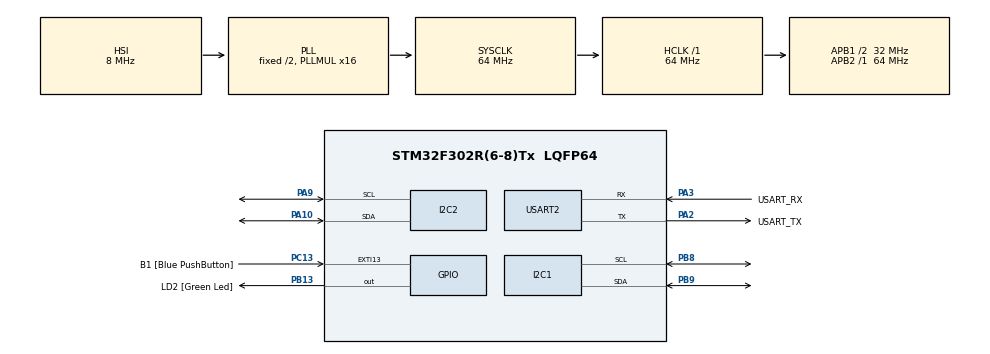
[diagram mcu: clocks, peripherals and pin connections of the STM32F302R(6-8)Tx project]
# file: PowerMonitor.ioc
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I2C1.Timing=0x00201D2B
I2C2.Timing=0x00201D2B
Mcu.Family=STM32F3
Mcu.Name=STM32F302R(6-8)Tx
Mcu.Package=LQFP64
NVIC.PriorityGroup=NVIC_PRIORITYGROUP_0
PA10.Mode=I2C
PA10.Signal=I2C2_SDA
PA13.GPIO_Label=TMS
PA13.Mode=Serial_Wire
PA13.Signal=SYS_JTMS-SWDIO
PA14.GPIO_Label=TCK
PA14.Mode=Serial_Wire
PA14.Signal=SYS_JTCK-SWCLK
PA2.GPIO_Label=USART_TX
PA2.GPIO_Mode=GPIO_MODE_AF_PP
PA2.GPIO_PuPd=GPIO_NOPULL
PA2.GPIO_Speed=GPIO_SPEED_FREQ_LOW
PA2.Mode=Asynchronous
PA2.Signal=USART2_TX
PA3.GPIO_Label=USART_RX
PA3.GPIO_Mode=GPIO_MODE_AF_PP
PA3.GPIO_PuPd=GPIO_NOPULL
PA3.GPIO_Speed=GPIO_SPEED_FREQ_LOW
PA3.Mode=Asynchronous
PA3.Signal=USART2_RX
PA9.Mode=I2C
PA9.Signal=I2C2_SCL
PB13.GPIO_Label=LD2 [Green Led]
PB13.Signal=GPIO_Output
PB3.GPIO_Label=SWO
PB3.Mode=Trace_Asynchronous_SW
PB3.Signal=SYS_JTDO-TRACESWO
PB8.Mode=I2C
PB8.Signal=I2C1_SCL
PB9.Mode=I2C
PB9.Signal=I2C1_SDA
PC13.GPIO_Label=B1 [Blue PushButton]
PC13.GPIO_ModeDefaultEXTI=GPIO_MODE_IT_FALLING
PC13.Signal=GPXTI13
PC14\ -\ OSC32_IN.Mode=LSE-External-Oscillator
PC14\ -\ OSC32_IN.Signal=RCC_OSC32_IN
PC15\ -\ OSC32_OUT.Mode=LSE-External-Oscillator
PC15\ -\ OSC32_OUT.Signal=RCC_OSC32_OUT
PF0-OSC_IN.Mode=HSE-External-Clock-Source
PF0-OSC_IN.Signal=RCC_OSC_IN
PF1-OSC_OUT.Signal=RCC_OSC_OUT
ProjectManager.HeapSize=0x200
ProjectManager.StackSize=0x400
ProjectManager.TargetToolchain=STM32CubeIDE
RCC.AHBFreq_Value=64000000
RCC.APB1CLKDivider=RCC_HCLK_DIV2
RCC.APB1Freq_Value=32000000
RCC.APB1TimFreq_Value=64000000
RCC.APB2Freq_Value=64000000
RCC.APB2TimFreq_Value=64000000
RCC.CortexFreq_Value=64000000
RCC.HCLKFreq_Value=64000000
RCC.HSE_VALUE=8000000
RCC.HSI_VALUE=8000000
RCC.PLLM=8
RCC.PLLMUL=RCC_PLL_MUL16
RCC.PLLN=336
RCC.PLLP=RCC_PLLP_DIV4
RCC.PLLQ=7
RCC.RCC_PLLsource_Clock_Source_FROM_HSE=RCC_HSE_PREDIV_DIV2
RCC.SYSCLKFreq_VALUE=64000000
RCC.SYSCLKSourceVirtual=RCC_SYSCLKSOURCE_PLLCLK
RCC.USBFreq_Value=64000000
USART2.VirtualMode-Asynchronous=VM_ASYNC
board=NUCLEO-F302R8

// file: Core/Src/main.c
/* USER CODE BEGIN Header */
/**
  ******************************************************************************
  * @file           : main.c
  * @brief          : Main program body
  ******************************************************************************
  * @attention
  *
  * Copyright (c) 2026 STMicroelectronics.
  * All rights reserved.
  *
  * This software is licensed under terms that can be found in the LICENSE file
  * in the root directory of this software component.
  * If no LICENSE file comes with this software, it is provided AS-IS.
  *
  ******************************************************************************
  */
/* USER CODE END Header */
#include "main.h"
#include "OutputFunctions.h"
#define CLEAR 0x01
#define CURRENT_REG 0x01
#define VOLTAGE_REG 0x02
#define PWR_REG 0x03
uint8_t DEVICE_ADDR = 0x3F;

I2C_HandleTypeDef hi2c1;
I2C_HandleTypeDef hi2c2;

UART_HandleTypeDef huart2;

void SystemClock_Config(void);
static void MX_GPIO_Init(void);
static void MX_I2C1_Init(void);
static void MX_I2C2_Init(void);
static void MX_USART2_UART_Init(void);

int main(void)
{

  /* USER CODE BEGIN 1 */
int rawVoltage, rawCurrent, rawPower;
  /* USER CODE END 1 */

  /* MCU Configuration--------------------------------------------------------*/

  /* Reset of all peripherals, Initializes the Flash interface and the Systick. */
  HAL_Init();

  /* Configure the system clock */
  SystemClock_Config();

  /* Initialize all configured peripherals */
  MX_GPIO_Init();
  MX_I2C1_Init();
  MX_I2C2_Init();
  MX_USART2_UART_Init();

  for(uint8_t addr = 1; addr < 127; addr++) {
      if(HAL_I2C_IsDeviceReady(&hi2c1, addr<<1, 1, 10) == HAL_OK) {
          printf("Device found at 0x%X\n", addr);
          DEVICE_ADDR = addr;
      }
  }
  /* USER CODE BEGIN 2 */
initializeLCD();

uint32_t status = HAL_I2C_IsDeviceReady(&hi2c2, (0x40<<1), 5, 100);

if(status != HAL_OK){
	outputWords("INA ERROR");
}else{
	for(int i = 0; i < 3; i++){
	sendCommand(0x01);
	HAL_Delay(100);
	setCursor(0,0);
	outputWords("INA READY");
	HAL_Delay(100);
	sendCommand(CLEAR);
	HAL_Delay(50);
	setCursor(0, 0);
	HAL_Delay(50);
	outputWords("Hello!");
	HAL_Delay(100);
	}
	sendCommand(CLEAR);
}

  /* USER CODE END 2 */

  /* Infinite loop */
  while (1)
  {
rawVoltage = readINA(VOLTAGE_REG);
rawCurrent = readINA(CURRENT_REG);
float voltage = rawVoltage * 0.00125f;
float current = rawCurrent * 0.00125f;
float current_mA = current * 1000;
float power = voltage * current;
float power_mW = power * 1000;
rawPower = readINA(PWR_REG);
HAL_Delay(1000);
sendCommand(CLEAR);
HAL_Delay(10);
displayFloat(current_mA, 0 ,0);
outputWords(" mA");
displayFloat(power_mW, 1, 0);
outputWords(" mW");
displayFloat(voltage, 2, 0);
outputWords(" V");
  }
}

void SystemClock_Config(void)
{
  RCC_OscInitTypeDef RCC_OscInitStruct = {0};
  RCC_ClkInitTypeDef RCC_ClkInitStruct = {0};
  RCC_PeriphCLKInitTypeDef PeriphClkInit = {0};

  /** Initializes the RCC Oscillators according to the specified parameters
  * in the RCC_OscInitTypeDef structure.
  */
  RCC_OscInitStruct.OscillatorType = RCC_OSCILLATORTYPE_HSI;
  RCC_OscInitStruct.HSIState = RCC_HSI_ON;
  RCC_OscInitStruct.HSICalibrationValue = RCC_HSICALIBRATION_DEFAULT;
  RCC_OscInitStruct.PLL.PLLState = RCC_PLL_ON;
  RCC_OscInitStruct.PLL.PLLSource = RCC_PLLSOURCE_HSI;
  RCC_OscInitStruct.PLL.PLLMUL = RCC_PLL_MUL16;
  if (HAL_RCC_OscConfig(&RCC_OscInitStruct) != HAL_OK)
  {
    Error_Handler();
  }

  /** Initializes the CPU, AHB and APB buses clocks
  */
  RCC_ClkInitStruct.ClockType = RCC_CLOCKTYPE_HCLK|RCC_CLOCKTYPE_SYSCLK
                              |RCC_CLOCKTYPE_PCLK1|RCC_CLOCKTYPE_PCLK2;
  RCC_ClkInitStruct.SYSCLKSource = RCC_SYSCLKSOURCE_PLLCLK;
  RCC_ClkInitStruct.AHBCLKDivider = RCC_SYSCLK_DIV1;
  RCC_ClkInitStruct.APB1CLKDivider = RCC_HCLK_DIV2;
  RCC_ClkInitStruct.APB2CLKDivider = RCC_HCLK_DIV1;

  if (HAL_RCC_ClockConfig(&RCC_ClkInitStruct, FLASH_LATENCY_2) != HAL_OK)
  {
    Error_Handler();
  }
  PeriphClkInit.PeriphClockSelection = RCC_PERIPHCLK_I2C1|RCC_PERIPHCLK_I2C2;
  PeriphClkInit.I2c1ClockSelection = RCC_I2C1CLKSOURCE_HSI;
  PeriphClkInit.I2c2ClockSelection = RCC_I2C2CLKSOURCE_HSI;
  if (HAL_RCCEx_PeriphCLKConfig(&PeriphClkInit) != HAL_OK)
  {
    Error_Handler();
  }
}

static void MX_I2C1_Init(void)
{

  hi2c1.Instance = I2C1;
  hi2c1.Init.Timing = 0x00201D2B;
  hi2c1.Init.OwnAddress1 = 0;
  hi2c1.Init.AddressingMode = I2C_ADDRESSINGMODE_7BIT;
  hi2c1.Init.DualAddressMode = I2C_DUALADDRESS_DISABLE;
  hi2c1.Init.OwnAddress2 = 0;
  hi2c1.Init.OwnAddress2Masks = I2C_OA2_NOMASK;
  hi2c1.Init.GeneralCallMode = I2C_GENERALCALL_DISABLE;
  hi2c1.Init.NoStretchMode = I2C_NOSTRETCH_DISABLE;
  if (HAL_I2C_Init(&hi2c1) != HAL_OK)
  {
    Error_Handler();
  }

  /** Configure Analogue filter
  */
  if (HAL_I2CEx_ConfigAnalogFilter(&hi2c1, I2C_ANALOGFILTER_ENABLE) != HAL_OK)
  {
    Error_Handler();
  }

  /** Configure Digital filter
  */
  if (HAL_I2CEx_ConfigDigitalFilter(&hi2c1, 0) != HAL_OK)
  {
    Error_Handler();
  }

}

static void MX_I2C2_Init(void)
{

  hi2c2.Instance = I2C2;
  hi2c2.Init.Timing = 0x00201D2B;
  hi2c2.Init.OwnAddress1 = 0;
  hi2c2.Init.AddressingMode = I2C_ADDRESSINGMODE_7BIT;
  hi2c2.Init.DualAddressMode = I2C_DUALADDRESS_DISABLE;
  hi2c2.Init.OwnAddress2 = 0;
  hi2c2.Init.OwnAddress2Masks = I2C_OA2_NOMASK;
  hi2c2.Init.GeneralCallMode = I2C_GENERALCALL_DISABLE;
  hi2c2.Init.NoStretchMode = I2C_NOSTRETCH_DISABLE;
  if (HAL_I2C_Init(&hi2c2) != HAL_OK)
  {
    Error_Handler();
  }

  /** Configure Analogue filter
  */
  if (HAL_I2CEx_ConfigAnalogFilter(&hi2c2, I2C_ANALOGFILTER_ENABLE) != HAL_OK)
  {
    Error_Handler();
  }

  /** Configure Digital filter
  */
  if (HAL_I2CEx_ConfigDigitalFilter(&hi2c2, 0) != HAL_OK)
  {
    Error_Handler();
  }

}

static void MX_USART2_UART_Init(void)
{

  huart2.Instance = USART2;
  huart2.Init.BaudRate = 38400;
  huart2.Init.WordLength = UART_WORDLENGTH_8B;
  huart2.Init.StopBits = UART_STOPBITS_1;
  huart2.Init.Parity = UART_PARITY_NONE;
  huart2.Init.Mode = UART_MODE_TX_RX;
  huart2.Init.HwFlowCtl = UART_HWCONTROL_NONE;
  huart2.Init.OverSampling = UART_OVERSAMPLING_16;
  huart2.Init.OneBitSampling = UART_ONE_BIT_SAMPLE_DISABLE;
  huart2.AdvancedInit.AdvFeatureInit = UART_ADVFEATURE_NO_INIT;
  if (HAL_UART_Init(&huart2) != HAL_OK)
  {
    Error_Handler();
  }

}

static void MX_GPIO_Init(void)
{
  GPIO_InitTypeDef GPIO_InitStruct = {0};

  /* GPIO Ports Clock Enable */
  __HAL_RCC_GPIOC_CLK_ENABLE();
  __HAL_RCC_GPIOF_CLK_ENABLE();
  __HAL_RCC_GPIOA_CLK_ENABLE();
  __HAL_RCC_GPIOB_CLK_ENABLE();

  /*Configure GPIO pin Output Level */
  HAL_GPIO_WritePin(LD2_GPIO_Port, LD2_Pin, GPIO_PIN_RESET);

  /*Configure GPIO pin : B1_Pin */
  GPIO_InitStruct.Pin = B1_Pin;
  GPIO_InitStruct.Mode = GPIO_MODE_IT_FALLING;
  GPIO_InitStruct.Pull = GPIO_NOPULL;
  HAL_GPIO_Init(B1_GPIO_Port, &GPIO_InitStruct);

  /*Configure GPIO pin : LD2_Pin */
  GPIO_InitStruct.Pin = LD2_Pin;
  GPIO_InitStruct.Mode = GPIO_MODE_OUTPUT_PP;
  GPIO_InitStruct.Pull = GPIO_NOPULL;
  GPIO_InitStruct.Speed = GPIO_SPEED_FREQ_LOW;
  HAL_GPIO_Init(LD2_GPIO_Port, &GPIO_InitStruct);

}

void Error_Handler(void)
{
  __disable_irq();
  while (1)
  {
  }
}
